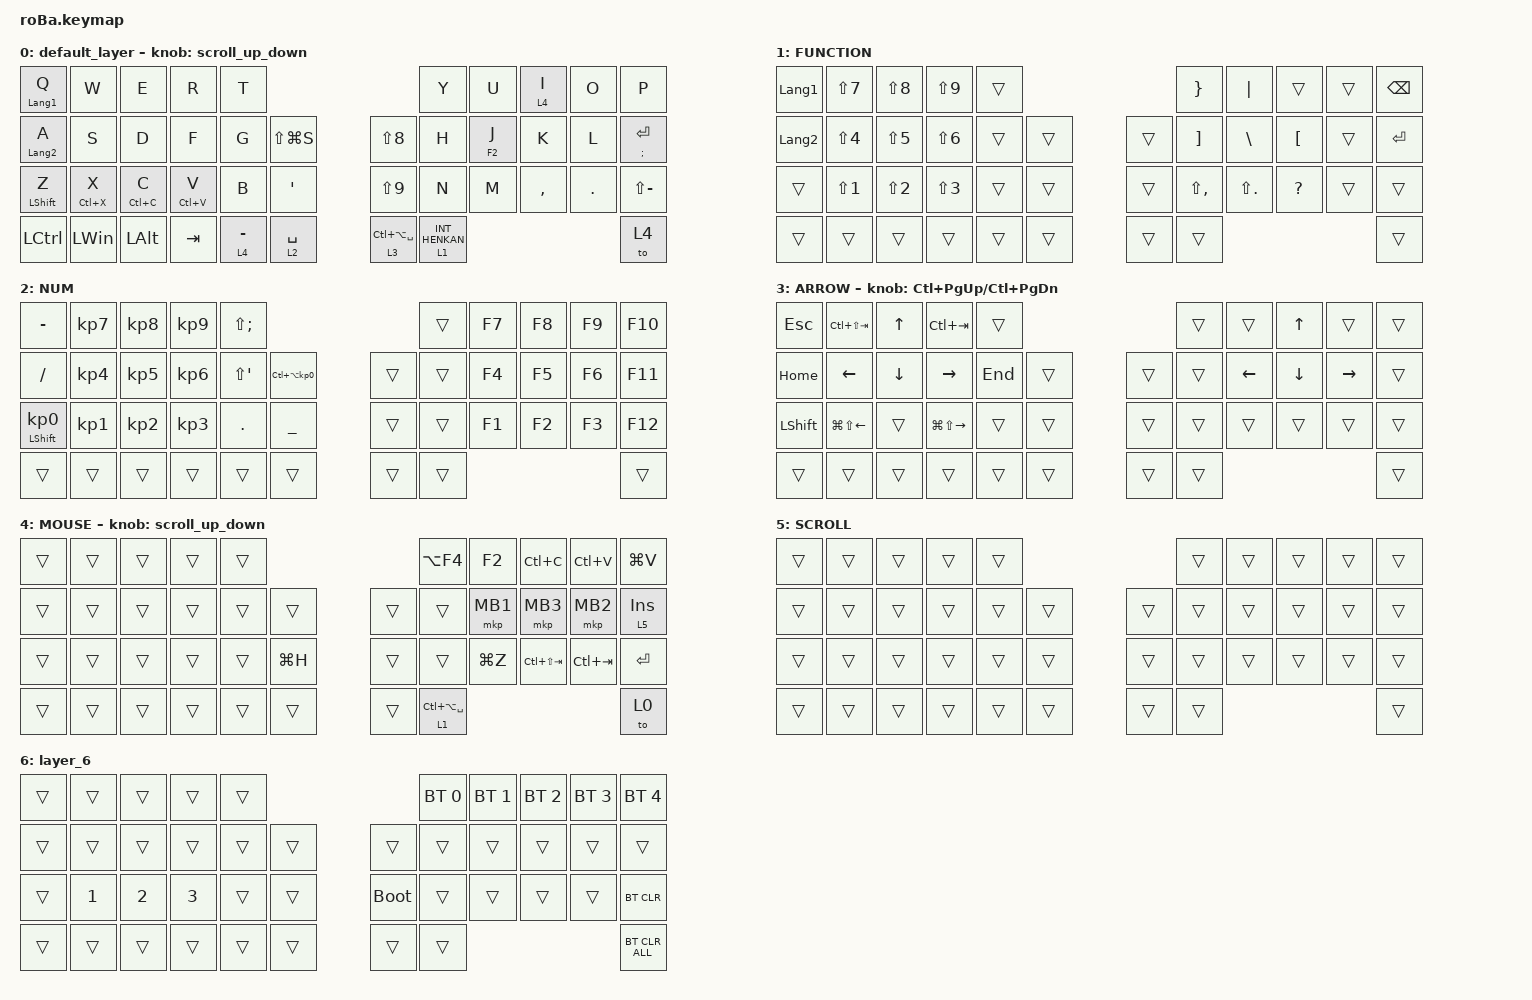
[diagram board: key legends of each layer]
#include <behaviors.dtsi>
#include <dt-bindings/zmk/bt.h>
#include <dt-bindings/zmk/keys.h>
#include <dt-bindings/zmk/pointing.h>

#define ZMK_POINTING_DEFAULT_SCRL_VAL 80
#define MOUSE 4
#define SCROLL 5
#define NUM 6

&mt {
    flavor = "balanced";
    quick-tap-ms = <0>;
};

/ {
    combos {
        compatible = "zmk,combos";

        tab {
            bindings = <&kp TAB>;
            key-positions = <11 12>;
        };

        shift_tab {
            bindings = <&kp LS(TAB)>;
            key-positions = <12 13>;
        };

        muhennkann {
            bindings = <&to_layer_0 INT_MUHENKAN>;
            key-positions = <11 10>;
        };

        double_quotation {
            bindings = <&kp DOUBLE_QUOTES>;
            key-positions = <20 21>;
        };

        eq {
            bindings = <&kp EQUAL>;
            key-positions = <24 25>;
        };
    };

    macros {
        to_layer_0: to_layer_0 {
            compatible = "zmk,behavior-macro-one-param";
            #binding-cells = <1>;
            bindings = <&to 0 &macro_param_1to1 &kp MACRO_PLACEHOLDER>;
            label = "TO_LAYER_0";
        };
    };

    behaviors {
        lt_to_layer_0: lt_to_layer_0 {
            compatible = "zmk,behavior-hold-tap";
            label = "LAYER_TAP_TO_0";
            bindings = <&mo>, <&to_layer_0>;

            #binding-cells = <2>;
            tapping-term-ms = <200>;
        };

        scroll_up_down: behavior_sensor_rotate_mouse_wheel_up_down {
            compatible = "zmk,behavior-sensor-rotate";
            #sensor-binding-cells = <0>;
            bindings = <&msc SCRL_UP>, <&msc SCRL_DOWN>;

            tap-ms = <20>;
        };
    };

    keymap {
        compatible = "zmk,keymap";

        default_layer {
            bindings = <
&mt LANGUAGE_1 Q  &kp W         &kp E         &kp R        &kp T                                                         &kp Y             &kp U     &lt 4 I    &kp O    &kp P
&mt LANGUAGE_2 A  &kp S         &kp D         &kp F        &kp G        &kp LS(LG(S))               &kp LS(N8)           &kp H             &mt F2 J  &kp K      &kp L    &mt SEMICOLON ENTER
&mt LEFT_SHIFT Z  &mt LC(X) X   &mt LC(C) C   &mt LC(V) V  &kp B        &kp SQT                     &kp LS(N9)           &kp N             &kp M     &kp COMMA  &kp DOT  &kp LS(MINUS)
&kp LCTRL         &kp LEFT_WIN  &kp LEFT_ALT  &kp TAB      &lt 4 MINUS  &lt_to_layer_0 2 SPACE      &lt 3 LC(LA(SPACE))  &lt 1 INT_HENKAN                                &to 4
            >;

            sensor-bindings = <&scroll_up_down>;
        };

        FUNCTION {
            bindings = <
&kp LANGUAGE_1  &kp LS(N7)        &kp LS(N8)        &kp LS(N9)        &trans                      &kp RIGHT_BRACE    &kp PIPE        &trans            &trans  &kp BACKSPACE
&kp LANGUAGE_2  &kp LS(NUMBER_4)  &kp LS(N5)        &kp LS(NUMBER_6)  &trans  &trans      &trans  &kp RIGHT_BRACKET  &kp BACKSLASH   &kp LEFT_BRACKET  &trans  &kp ENTER
&trans          &kp LS(NUMBER_1)  &kp LS(NUMBER_2)  &kp LS(NUMBER_3)  &trans  &trans      &trans  &kp LS(COMMA)      &kp LS(PERIOD)  &kp QUESTION      &trans  &trans
&trans          &trans            &trans            &trans            &trans  &trans      &trans  &trans                                                       &trans
            >;
        };

        NUM {
            bindings = <
&kp MINUS                   &kp KP_NUMBER_7  &kp KP_NUMBER_8  &kp KP_NUMBER_9  &kp LS(SEMICOLON)                                          &trans  &kp F7  &kp F8  &kp F9  &kp F10
&kp SLASH                   &kp KP_NUMBER_4  &kp KP_NUMBER_5  &kp KP_NUMBER_6  &kp LS(SINGLE_QUOTE)  &kp LC(LA(KP_NUMBER_0))      &trans  &trans  &kp F4  &kp F5  &kp F6  &kp F11
&mt LEFT_SHIFT KP_NUMBER_0  &kp KP_NUMBER_1  &kp KP_NUMBER_2  &kp KP_NUMBER_3  &kp PERIOD            &kp UNDERSCORE               &trans  &trans  &kp F1  &kp F2  &kp F3  &kp F12
&trans                      &trans           &trans           &trans           &trans                &trans                       &trans  &trans                          &trans
            >;
        };

        ARROW {
            bindings = <
&kp ESCAPE      &kp LC(LS(TAB))         &kp UP_ARROW    &kp LC(TAB)              &trans                       &trans  &trans          &kp UP_ARROW    &trans           &trans
&kp HOME        &kp LEFT_ARROW          &kp DOWN_ARROW  &kp RIGHT_ARROW          &kp END  &trans      &trans  &trans  &kp LEFT_ARROW  &kp DOWN_ARROW  &kp RIGHT_ARROW  &trans
&kp LEFT_SHIFT  &kp LG(LS(LEFT_ARROW))  &trans          &kp LG(LS(RIGHT_ARROW))  &trans   &trans      &trans  &trans  &trans          &trans          &trans           &trans
&trans          &trans                  &trans          &trans                   &trans   &trans      &trans  &trans                                                   &trans
            >;

            sensor-bindings = <&inc_dec_kp LC(PAGE_UP) LC(PAGE_DOWN)>;
        };

        MOUSE {
            bindings = <
&trans  &trans  &trans  &trans  &trans                         &kp LA(F4)           &kp F2     &kp LC(C)        &kp LC(V)    &kp LG(V)
&trans  &trans  &trans  &trans  &trans  &trans         &trans  &trans               &mkp MB1   &mkp MB3         &mkp MB2     &lt 5 INSERT
&trans  &trans  &trans  &trans  &trans  &kp LG(H)      &trans  &trans               &kp LG(Z)  &kp LC(LS(TAB))  &kp LC(TAB)  &kp ENTER
&trans  &trans  &trans  &trans  &trans  &trans         &trans  &lt 1 LC(LA(SPACE))                                           &to 0
            >;

            sensor-bindings = <&scroll_up_down>;
        };

        SCROLL {
            bindings = <
&trans  &trans  &trans  &trans  &trans                      &trans  &trans  &trans  &trans  &trans
&trans  &trans  &trans  &trans  &trans  &trans      &trans  &trans  &trans  &trans  &trans  &trans
&trans  &trans  &trans  &trans  &trans  &trans      &trans  &trans  &trans  &trans  &trans  &trans
&trans  &trans  &trans  &trans  &trans  &trans      &trans  &trans                          &trans
            >;
        };

        layer_6 {
            bindings = <
&trans  &trans        &trans        &trans        &trans                           &bt BT_SEL 0  &bt BT_SEL 1  &bt BT_SEL 2  &bt BT_SEL 3  &bt BT_SEL 4
&trans  &trans        &trans        &trans        &trans  &trans      &trans       &trans        &trans        &trans        &trans        &trans
&trans  &kp NUMBER_1  &kp NUMBER_2  &kp NUMBER_3  &trans  &trans      &bootloader  &trans        &trans        &trans        &trans        &bt BT_CLR
&trans  &trans        &trans        &trans        &trans  &trans      &trans       &trans                                                  &bt BT_CLR_ALL
            >;
        };
    };
};
